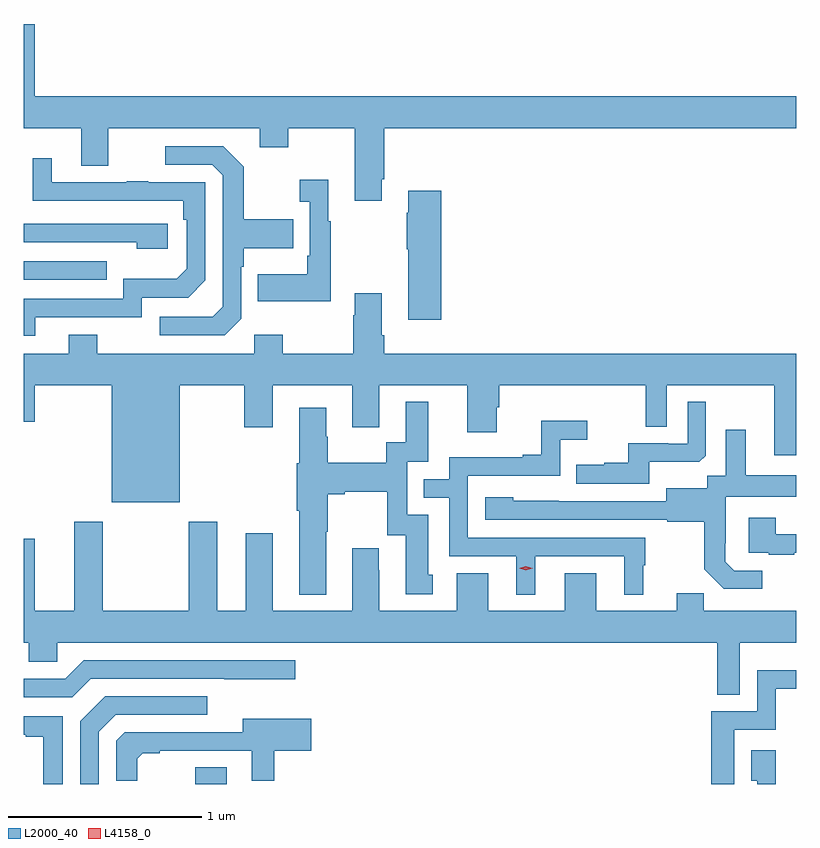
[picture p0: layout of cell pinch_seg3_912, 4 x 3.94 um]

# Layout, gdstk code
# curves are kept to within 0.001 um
import gdstk
lib = gdstk.Library(unit=1e-6, precision=1e-09)
def R(c, l, rs):  # rectangles x0, y0, x1, y1
    for r in rs: c.add(gdstk.rectangle(r[:2], r[2:], *l))
def P(c, l, *ps):  # polygons
    for p in ps: c.add(gdstk.Polygon(p, *l))
L2000_40 = (2000, 40)
L4158_0 = (4158, 0)

pinch_seg3_912 = lib.new_cell('pinch_seg3_912')
R(pinch_seg3_912, L2000_40, [(789.379,684.2,789.543,684.287), (788.491,686.811,788.921,686.907)])
P(pinch_seg3_912, L2000_40, [(790.345,687.331),(790.358,687.331),(790.358,687.596),(792.491,687.596),(792.491,687.76),(788.548,687.76),(788.548,688.135),(788.491,688.135),(788.491,687.596),(788.789,687.596),(788.789,687.402),(788.929,687.402),(788.929,687.596),(789.713,687.596),(789.713,687.497),(789.861,687.497),(789.861,687.596),(790.205,687.596),(790.205,687.219),(790.345,687.219)],
  [(789.618,686.61),(789.618,686.879),(789.631,686.879),(789.631,686.975),(789.887,686.975),(789.887,687.123),(789.631,687.123),(789.631,687.395),(789.525,687.501),(789.225,687.501),(789.225,687.405),(789.468,687.405),(789.522,687.351),(789.522,686.67),(789.471,686.619),(789.195,686.619),(789.195,686.523),(789.531,686.523)],
  [(788.551,686.616),(789.102,686.616),(789.102,686.718),(789.342,686.718),(789.432,686.808),(789.432,687.315),(789.137,687.315),(789.137,687.32),(789.025,687.32),(789.025,687.315),(788.635,687.315),(788.635,687.439),(788.539,687.439),(788.539,687.22),(789.316,687.219),(789.316,687.122),(789.336,687.122),(789.336,686.868),(789.283,686.815),(789.006,686.815),(789.006,686.712),(788.491,686.712),(788.491,686.52),(788.551,686.52)],
  [(790.081,687.115),(790.069,687.115),(790.069,687.328),(789.921,687.328),(789.921,687.215),(789.972,687.215),(789.972,686.935),(789.96,686.935),(789.96,686.839),(789.703,686.839),(789.703,686.699),(790.081,686.699)],
  [(790.654,687.271),(790.481,687.271),(790.481,687.158),(790.474,687.158),(790.474,686.969),(790.481,686.969),(790.481,686.604),(790.654,686.604)],
  [(789.238,687.102),(788.491,687.102),(788.491,687.006),(789.077,687.006),(789.077,686.972),(789.238,686.972)],
  [(789.781,686.264),(790.193,686.264),(790.193,686.046),(790.333,686.046),(790.333,686.264),(790.787,686.264),(790.787,686.022),(790.939,686.022),(790.939,686.151),(790.952,686.151),(790.952,686.264),(791.712,686.264),(791.712,686.05),(791.82,686.05),(791.82,686.264),(792.377,686.264),(792.377,685.902),(792.491,685.902),(792.491,686.428),(790.358,686.428),(790.358,686.524),(790.345,686.524),(790.345,686.74),(790.205,686.74),(790.205,686.627),(790.198,686.627),(790.198,686.428),(789.831,686.428),(789.831,686.527),(789.684,686.527),(789.684,686.428),(788.871,686.428),(788.871,686.527),(788.723,686.527),(788.723,686.428),(788.491,686.428),(788.491,686.076),(788.548,686.076),(788.548,686.264),(788.948,686.264),(788.948,685.658),(789.298,685.658),(789.298,686.264),(789.634,686.264),(789.634,686.046),(789.781,686.046)],
  [(791.731,685.868),(791.989,685.868),(792.021,685.899),(792.021,686.179),(791.928,686.179),(791.928,685.962),(791.828,685.962),(791.828,685.965),(791.621,685.965),(791.621,685.864),(791.497,685.864),(791.497,685.852),(791.353,685.852),(791.353,685.755),(791.731,685.755)],
  [(790.057,685.507),(790.065,685.507),(790.065,685.7),(790.153,685.7),(790.153,685.712),(790.373,685.712),(790.373,685.488),(790.469,685.488),(790.469,685.182),(790.609,685.182),(790.609,685.284),(790.585,685.284),(790.585,685.593),(790.476,685.593),(790.476,685.869),(790.585,685.869),(790.585,686.179),(790.469,686.179),(790.469,685.97),(790.368,685.97),(790.368,685.864),(790.065,685.864),(790.065,685.998),(790.057,685.998),(790.057,686.149),(789.917,686.149),(789.917,685.86),(789.905,685.86),(789.905,685.616),(789.917,685.616),(789.917,685.181),(790.057,685.181)],
  [(791.14,685.38),(791.6,685.38),(791.6,685.181),(791.698,685.181),(791.698,685.332),(791.71,685.332),(791.71,685.476),(790.791,685.476),(790.791,685.797),(791.268,685.797),(791.268,685.982),(791.41,685.982),(791.41,686.081),(791.17,686.081),(791.17,685.906),(791.075,685.906),(791.075,685.893),(790.695,685.893),(790.695,685.779),(790.561,685.779),(790.561,685.683),(790.695,685.683),(790.695,685.38),(791.042,685.38),(791.042,685.181),(791.14,685.181)],
  [(792.316,685.305),(792.171,685.305),(792.124,685.352),(792.124,685.447),(792.126,685.447),(792.126,685.688),(792.491,685.688),(792.491,685.798),(792.229,685.798),(792.229,686.035),(792.125,686.035),(792.125,685.796),(792.03,685.796),(792.03,685.732),(791.819,685.732),(791.819,685.665),(791.025,685.666),(791.025,685.684),(790.881,685.684),(790.881,685.569),(791.823,685.569),(791.823,685.557),(792.015,685.557),(792.015,685.311),(792.115,685.211),(792.316,685.211)],
  [(792.481,685.397),(792.491,685.397),(792.491,685.494),(792.385,685.494),(792.385,685.579),(792.245,685.579),(792.245,685.398),(792.349,685.398),(792.349,685.386),(792.481,685.386)],
  [(792.199,684.932),(792.491,684.932),(792.491,685.096),(792.011,685.096),(792.011,685.187),(791.873,685.187),(791.873,685.096),(791.455,685.096),(791.455,685.291),(791.291,685.291),(791.291,685.096),(790.897,685.096),(790.897,685.291),(790.733,685.291),(790.733,685.096),(790.333,685.096),(790.333,685.307),(790.33,685.307),(790.33,685.42),(790.193,685.42),(790.193,685.096),(789.781,685.096),(789.781,685.498),(789.641,685.498),(789.641,685.096),(789.493,685.096),(789.493,685.558),(789.346,685.558),(789.346,685.096),(788.901,685.096),(788.901,685.558),(788.753,685.558),(788.753,685.096),(788.548,685.096),(788.548,685.471),(788.491,685.471),(788.491,684.932),(788.518,684.932),(788.518,684.834),(788.664,684.834),(788.664,684.932),(792.081,684.932),(792.081,684.661),(792.199,684.661)],
  [(788.839,684.744),(789.529,684.744),(789.529,684.743),(789.898,684.743),(789.898,684.84),(788.802,684.84),(788.706,684.744),(788.491,684.744),(788.491,684.648),(788.743,684.648)],
  [(792.169,684.48),(792.384,684.48),(792.384,684.693),(792.491,684.693),(792.491,684.79),(792.288,684.79),(792.288,684.576),(792.051,684.576),(792.051,684.2),(792.169,684.2)],
  [(788.88,684.471),(788.967,684.558),(789.442,684.558),(789.442,684.654),(788.912,684.654),(788.784,684.526),(788.784,684.2),(788.88,684.2)],
  [(788.694,684.552),(788.491,684.552),(788.491,684.456),(788.501,684.456),(788.501,684.444),(788.593,684.444),(788.593,684.2),(788.694,684.2)],
  [(789.079,684.33),(789.108,684.36),(789.196,684.36),(789.196,684.372),(789.672,684.372),(789.672,684.216),(789.788,684.216),(789.788,684.373),(789.979,684.373),(789.979,684.538),(789.626,684.538),(789.626,684.468),(789.015,684.468),(788.97,684.423),(788.97,684.216),(789.079,684.216)],
  [(792.384,684.376),(792.257,684.376),(792.257,684.217),(792.288,684.217),(792.288,684.2),(792.384,684.2)])
P(pinch_seg3_912, L4158_0, [(791.091,685.307),(791.056,685.317),(791.055,685.317),(791.056,685.317),(791.091,685.327),(791.126,685.317),(791.127,685.317),(791.126,685.317)])

lib.write_gds('pinch_seg3_912.gds')
